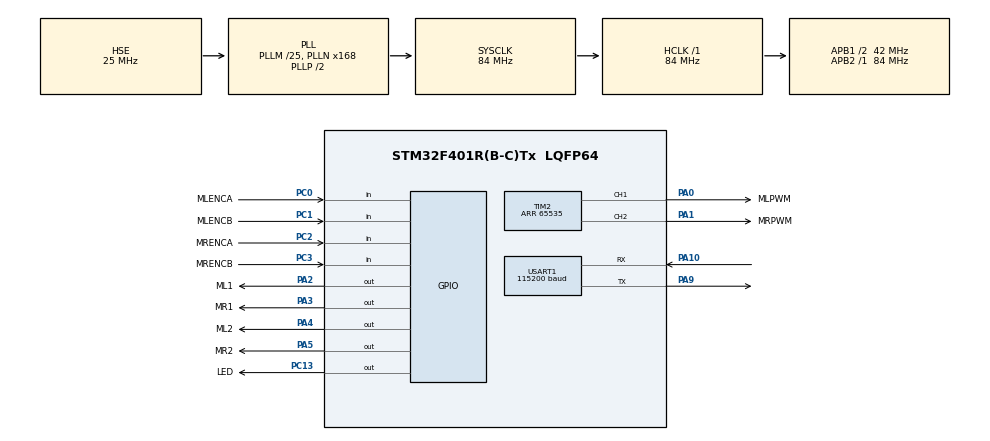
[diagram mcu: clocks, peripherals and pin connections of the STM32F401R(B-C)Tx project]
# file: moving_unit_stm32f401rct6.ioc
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Mcu.Family=STM32F4
Mcu.Name=STM32F401R(B-C)Tx
Mcu.Package=LQFP64
NVIC.PriorityGroup=NVIC_PRIORITYGROUP_4
NVIC.USART1_IRQn=true\:0\:0\:false\:false\:true\:true\:true\:true
PA0-WKUP.GPIO_Label=MLPWM
PA0-WKUP.Signal=S_TIM2_CH1_ETR
PA1.GPIO_Label=MRPWM
PA1.Signal=S_TIM2_CH2
PA10.Mode=Asynchronous
PA10.Signal=USART1_RX
PA13.Mode=Serial_Wire
PA13.Signal=SYS_JTMS-SWDIO
PA14.Mode=Serial_Wire
PA14.Signal=SYS_JTCK-SWCLK
PA2.GPIO_Label=ML1
PA2.Signal=GPIO_Output
PA3.GPIO_Label=MR1
PA3.Signal=GPIO_Output
PA4.GPIO_Label=ML2
PA4.Signal=GPIO_Output
PA5.GPIO_Label=MR2
PA5.Signal=GPIO_Output
PA9.Mode=Asynchronous
PA9.Signal=USART1_TX
PC0.GPIO_Label=MLENCA
PC0.Signal=GPIO_Input
PC1.GPIO_Label=MLENCB
PC1.Signal=GPIO_Input
PC13-ANTI_TAMP.GPIO_Label=LED
PC13-ANTI_TAMP.Signal=GPIO_Output
PC2.GPIO_Label=MRENCA
PC2.Signal=GPIO_Input
PC3.GPIO_Label=MRENCB
PC3.Signal=GPIO_Input
PH0\ -\ OSC_IN.Mode=HSE-External-Oscillator
PH0\ -\ OSC_IN.Signal=RCC_OSC_IN
PH1\ -\ OSC_OUT.Mode=HSE-External-Oscillator
PH1\ -\ OSC_OUT.Signal=RCC_OSC_OUT
ProjectManager.HeapSize=0x200
ProjectManager.StackSize=0x400
ProjectManager.TargetToolchain=CMake
RCC.48MHZClocksFreq_Value=42000000
RCC.AHBFreq_Value=84000000
RCC.APB1CLKDivider=RCC_HCLK_DIV2
RCC.APB1Freq_Value=42000000
RCC.APB1TimFreq_Value=84000000
RCC.APB2Freq_Value=84000000
RCC.APB2TimFreq_Value=84000000
RCC.CortexFreq_Value=84000000
RCC.HCLKFreq_Value=84000000
RCC.HSE_VALUE=25000000
RCC.HSI_VALUE=16000000
RCC.LSE_VALUE=32768
RCC.PLLM=25
RCC.PLLN=168
RCC.PLLSourceVirtual=RCC_PLLSOURCE_HSE
RCC.SYSCLKFreq_VALUE=84000000
RCC.SYSCLKSource=RCC_SYSCLKSOURCE_PLLCLK
RCC.VCOOutputFreq_Value=168000000
SH.S_TIM2_CH1_ETR.0=TIM2_CH1,PWM Generation1 CH1
SH.S_TIM2_CH2.0=TIM2_CH2,PWM Generation2 CH2
TIM2.Channel-PWM\ Generation1\ CH1=TIM_CHANNEL_1
TIM2.Channel-PWM\ Generation2\ CH2=TIM_CHANNEL_2
TIM2.OCFastMode_PWM-PWM\ Generation1\ CH1=TIM_OCFAST_ENABLE
TIM2.OCFastMode_PWM-PWM\ Generation2\ CH2=TIM_OCFAST_ENABLE
TIM2.Period=65535
USART1.BaudRate=115200
USART1.VirtualMode=VM_ASYNC
board=custom

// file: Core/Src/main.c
/* USER CODE BEGIN Header */
/**
  ******************************************************************************
  * @file           : main.c
  * @brief          : Main program body
  ******************************************************************************
  * @attention
  *
  * Copyright (c) 2026 STMicroelectronics.
  * All rights reserved.
  *
  * This software is licensed under terms that can be found in the LICENSE file
  * in the root directory of this software component.
  * If no LICENSE file comes with this software, it is provided AS-IS.
  *
  ******************************************************************************
  */
/* USER CODE END Header */
#include "main.h"
#include "tim.h"
#include "usart.h"
#include "gpio.h"

/* USER CODE BEGIN Includes */
#include "stdlib.h"
/* USER CODE END Includes */

/* USER CODE BEGIN PV */

extern uint8_t uart_rx_buffer[2] = {100,100}; // Buffer for UART

// Variables for motor speed
int8_t l_spd = 0;
int8_t r_spd = 0;

/* USER CODE END PV */

void SystemClock_Config(void);

int main(void)
{

  /* MCU Configuration--------------------------------------------------------*/

  /* Reset of all peripherals, Initializes the Flash interface and the Systick. */
  HAL_Init();

  /* Configure the system clock */
  SystemClock_Config();

  /* Initialize all configured peripherals */
  MX_GPIO_Init();
  MX_TIM2_Init();
  MX_USART1_UART_Init();
  /* USER CODE BEGIN 2 */

  // Initializing PWM
  HAL_TIM_PWM_Start(&htim2, TIM_CHANNEL_1);
  HAL_TIM_PWM_Start(&htim2, TIM_CHANNEL_2);

  // Reseting motor pins
  HAL_GPIO_WritePin(ML1_GPIO_Port,ML1_Pin,GPIO_PIN_RESET);
  HAL_GPIO_WritePin(MR1_GPIO_Port,MR1_Pin,GPIO_PIN_RESET);
  HAL_GPIO_WritePin(ML2_GPIO_Port,ML2_Pin,GPIO_PIN_RESET);
  HAL_GPIO_WritePin(MR2_GPIO_Port,MR2_Pin,GPIO_PIN_RESET);

  // Of course LED for debuging (Nah, just for beauty)
  HAL_GPIO_WritePin(LED_GPIO_Port, LED_Pin, GPIO_PIN_RESET);

  // Start recieving data from UART
  HAL_UART_Receive_IT(&huart1,uart_rx_buffer,2);

  /* USER CODE END 2 */

  /* Infinite loop */
  /* USER CODE BEGIN WHILE */
  while (1)
  {
    l_spd = uart_rx_buffer[0]-100;
    r_spd = uart_rx_buffer[1]-100;

    if(l_spd>0)
    {
      TIM2 -> CCR1 = l_spd*65535/100;
      HAL_GPIO_WritePin(ML1_GPIO_Port, ML1_Pin, GPIO_PIN_RESET);
      HAL_GPIO_WritePin(ML2_GPIO_Port, ML2_Pin, GPIO_PIN_SET);
    }
    else if(l_spd<0)
    {
      TIM2 -> CCR1 = abs(l_spd)*65535/100;
      HAL_GPIO_WritePin(ML1_GPIO_Port, ML1_Pin, GPIO_PIN_SET);
      HAL_GPIO_WritePin(ML2_GPIO_Port, ML2_Pin, GPIO_PIN_RESET);
    }
    else
    {
      HAL_GPIO_WritePin(ML1_GPIO_Port, ML1_Pin, GPIO_PIN_RESET);
      HAL_GPIO_WritePin(ML2_GPIO_Port, ML2_Pin, GPIO_PIN_RESET);
    }

    if(r_spd>0)
    {
      TIM2 -> CCR2 = r_spd*65535/100;
      HAL_GPIO_WritePin(MR1_GPIO_Port, MR1_Pin, GPIO_PIN_RESET);
      HAL_GPIO_WritePin(MR2_GPIO_Port, MR2_Pin, GPIO_PIN_SET);
    }
    else if(r_spd<0)
    {
      TIM2 -> CCR2 = abs(r_spd)*65535/100;
      HAL_GPIO_WritePin(MR1_GPIO_Port, MR1_Pin, GPIO_PIN_SET);
      HAL_GPIO_WritePin(MR2_GPIO_Port, MR2_Pin, GPIO_PIN_RESET);
    }
    else
    {
      HAL_GPIO_WritePin(MR1_GPIO_Port, MR1_Pin, GPIO_PIN_RESET);
      HAL_GPIO_WritePin(MR2_GPIO_Port, MR2_Pin, GPIO_PIN_RESET);
    }

    /* USER CODE END WHILE */

  }
}

void SystemClock_Config(void)
{
  RCC_OscInitTypeDef RCC_OscInitStruct = {0};
  RCC_ClkInitTypeDef RCC_ClkInitStruct = {0};

  /** Configure the main internal regulator output voltage
  */
  __HAL_RCC_PWR_CLK_ENABLE();
  __HAL_PWR_VOLTAGESCALING_CONFIG(PWR_REGULATOR_VOLTAGE_SCALE2);

  /** Initializes the RCC Oscillators according to the specified parameters
  * in the RCC_OscInitTypeDef structure.
  */
  RCC_OscInitStruct.OscillatorType = RCC_OSCILLATORTYPE_HSE;
  RCC_OscInitStruct.HSEState = RCC_HSE_ON;
  RCC_OscInitStruct.PLL.PLLState = RCC_PLL_ON;
  RCC_OscInitStruct.PLL.PLLSource = RCC_PLLSOURCE_HSE;
  RCC_OscInitStruct.PLL.PLLM = 25;
  RCC_OscInitStruct.PLL.PLLN = 168;
  RCC_OscInitStruct.PLL.PLLP = RCC_PLLP_DIV2;
  RCC_OscInitStruct.PLL.PLLQ = 4;
  if (HAL_RCC_OscConfig(&RCC_OscInitStruct) != HAL_OK)
  {
    Error_Handler();
  }

  /** Initializes the CPU, AHB and APB buses clocks
  */
  RCC_ClkInitStruct.ClockType = RCC_CLOCKTYPE_HCLK|RCC_CLOCKTYPE_SYSCLK
                              |RCC_CLOCKTYPE_PCLK1|RCC_CLOCKTYPE_PCLK2;
  RCC_ClkInitStruct.SYSCLKSource = RCC_SYSCLKSOURCE_PLLCLK;
  RCC_ClkInitStruct.AHBCLKDivider = RCC_SYSCLK_DIV1;
  RCC_ClkInitStruct.APB1CLKDivider = RCC_HCLK_DIV2;
  RCC_ClkInitStruct.APB2CLKDivider = RCC_HCLK_DIV1;

  if (HAL_RCC_ClockConfig(&RCC_ClkInitStruct, FLASH_LATENCY_2) != HAL_OK)
  {
    Error_Handler();
  }
}

/* USER CODE BEGIN 4 */

// Setting up all UART interruptions, patamushta tak nada

void HAL_UART_RxCpltCallback(UART_HandleTypeDef *huart)
{
  if(huart->Instance == USART1)
  {
    HAL_UART_Receive_IT(&huart1,uart_rx_buffer,2);
  }
}

/* USER CODE END 4 */

void Error_Handler(void)
{
  __disable_irq();
  while (1)
  {
  }
}
